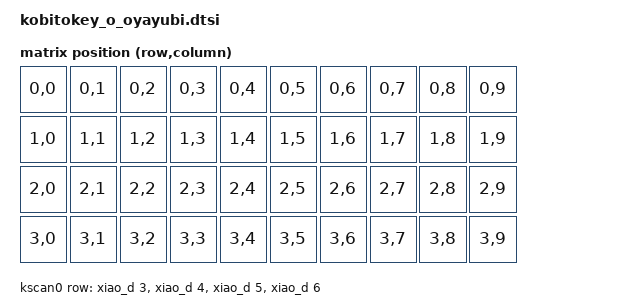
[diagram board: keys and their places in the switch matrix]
/*
 * kobitokey-o-oyayubi shield (shared devicetree)
 *
 * Hardware: each half has a Seeed XIAO nRF52840 mounted on the thumb-unit PCB.
 * 4 rows x 5 cols main matrix, plus a PMW3610 optical trackball wired in
 * 3-wire SPI (SDIO shares MOSI/MISO).
 *
 * Pin mapping is identical on both halves (extracted from the KiCad netlist
 * in pcb/thumb-unit-{left,right}.kicad_pcb):
 *
 *   ROW0 = P0.29 (XIAO D3)
 *   ROW1 = P0.04 (XIAO D4)
 *   ROW2 = P0.05 (XIAO D5)
 *   ROW3 = P1.11 (XIAO D6)        // thumb row
 *   COL0 = P1.12 (XIAO D7)        // innermost (index-finger side)
 *   COL1 = P1.13 (XIAO D8)
 *   COL2 = P1.14 (XIAO D9)
 *   COL3 = P1.15 (XIAO D10)
 *   COL4 = P0.10 (NFC2 back pad)  // outermost (pinky side); only on rows 0-2
 *
 *   Trackball SDIO  = P0.02 (XIAO D0)
 *   Trackball SCLK  = P0.03 (XIAO D1)
 *   Trackball MOTION= P0.28 (XIAO D2)
 *   Trackball NCS   = P0.09 (NFC1 back pad)
 *
 * Diode orientation (both halves): anode on ROW, cathode toward switch and
 * then COL. That makes the conduction direction row -> col, so we need
 * `diode-direction = "row2col"`. ROWs are scan outputs, COLs are inputs
 * with pull-down.
 *
 * Physical column order:
 *   - LEFT half PCB places COL0 at X=198 (innermost) and COL4 at X=134
 *     (pinky). To match the natural QWERTY reading order in the unified
 *     4x10 keymap, the left overlay declares col-gpios in REVERSE order
 *     so that kscan column 0 corresponds to the physical pinky.
 *   - RIGHT half PCB places COL0 at X=134 (innermost). The right overlay
 *     uses the natural order so kscan column 0 is the inner index column,
 *     which sits at combined column 5 thanks to col-offset.
 */

#include <dt-bindings/zmk/matrix_transform.h>

/ {
    kscan0: kscan0 {
        compatible = "zmk,kscan-gpio-matrix";
        wakeup-source;
        diode-direction = "row2col";

        row-gpios
            = <&xiao_d 3 GPIO_ACTIVE_HIGH>   /* ROW0 - P0.29 */
            , <&xiao_d 4 GPIO_ACTIVE_HIGH>   /* ROW1 - P0.04 */
            , <&xiao_d 5 GPIO_ACTIVE_HIGH>   /* ROW2 - P0.05 */
            , <&xiao_d 6 GPIO_ACTIVE_HIGH>   /* ROW3 - P1.11 */
            ;
        /* col-gpios are defined per-half in the *_left.overlay /
         * *_right.overlay because the two halves need opposite scan-order
         * to land in a coherent unified matrix. */
    };

    default_transform: keymap_transform_0 {
        compatible = "zmk,matrix-transform";
        rows = <4>;
        columns = <10>;
        /* Combined matrix layout (after each half's col-offset is applied):
         *   cols 0..4  = LEFT half  (pinky -> index, outer to inner)
         *   cols 5..9  = RIGHT half (index -> pinky, inner to outer)
         *   (3,0) and (3,9) have no physical switch (no pinky thumb key). */
        map = <
RC(0,0) RC(0,1) RC(0,2) RC(0,3) RC(0,4)   RC(0,5) RC(0,6) RC(0,7) RC(0,8) RC(0,9)
RC(1,0) RC(1,1) RC(1,2) RC(1,3) RC(1,4)   RC(1,5) RC(1,6) RC(1,7) RC(1,8) RC(1,9)
RC(2,0) RC(2,1) RC(2,2) RC(2,3) RC(2,4)   RC(2,5) RC(2,6) RC(2,7) RC(2,8) RC(2,9)
RC(3,0) RC(3,1) RC(3,2) RC(3,3) RC(3,4)   RC(3,5) RC(3,6) RC(3,7) RC(3,8) RC(3,9)
        >;
    };

    /* Right-half trackball is relayed from peripheral to central over split BLE. */
    split_inputs {
        #address-cells = <1>;
        #size-cells = <0>;

        tb_right_split: tb_right_split@0 {
            compatible = "zmk,input-split";
            reg = <0>;
        };
    };

    /* Listeners live in the shared file but only get enabled on the central side. */
    tb_left_listener: tb_left_listener {
        compatible = "zmk,input-listener";
        status = "disabled";
    };

    tb_right_listener: tb_right_listener {
        compatible = "zmk,input-listener";
        status = "disabled";
        device = <&tb_right_split>;
    };

    physical_layout0: physical_layout_0 {
        compatible = "zmk,physical-layout";
        display-name = "Default Layout";
        kscan = <&kscan0>;
        transform = <&default_transform>;
    };

    chosen {
        zmk,kscan = &kscan0;
        zmk,physical-layout = &physical_layout0;
    };
};
